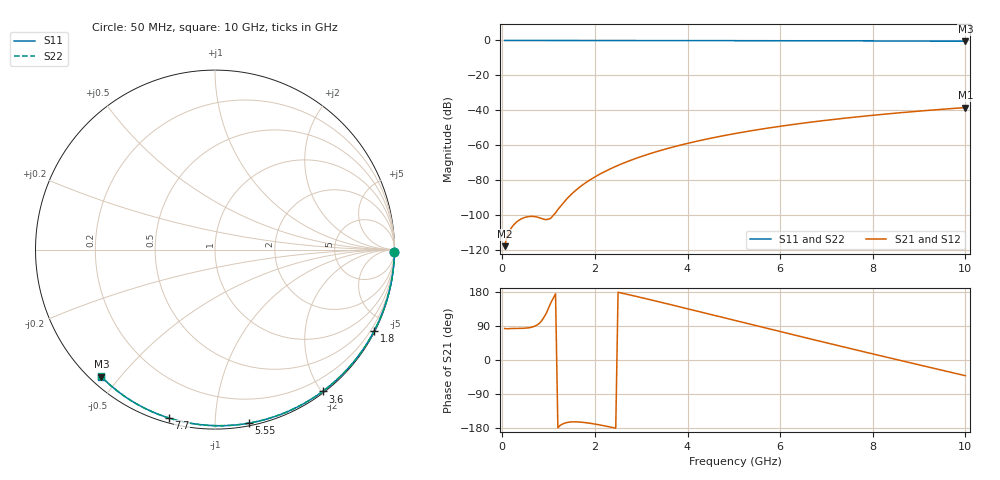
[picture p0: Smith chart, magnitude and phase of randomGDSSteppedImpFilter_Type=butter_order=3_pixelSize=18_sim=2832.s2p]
! freq	dB(S11)	phase(S11)	dB(S12)	phase(S12)
!  dB(S21)	phase(S21)	dB(S22)	phase(S22)
!S-par simulation data
#  GHz  S  DB  R 50
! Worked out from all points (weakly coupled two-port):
!   200 points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, 50 MHz to 10 GHz, reference 50 ohm
!   highest |S21| = -38.35 dB at 10 GHz (marker M1); lowest = -117.6 dB at 50 MHz (marker M2)
!   lowest |S11| = -0.4 dB at 10 GHz (marker M3), VSWR 39.14, Z = 1.53 - j22.3 ohm
!   |S11| at or under -10 dB: nowhere
!   |S22| runs from -0.4 to 0.0 dB; largest |S21 - S12| = 0
!   S11 on the Smith chart (normalised r, x): 50 MHz: open; 1.8 GHz: 0.04, -4.16; 3.6 GHz: 0.02, -2.01; 5.55 GHz: 0.02, -1.21; 7.7 GHz: 0.02, -0.76; 10 GHz: 0.03, -0.45
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0.05  -0.00 -0.8  -117.55 83.1  -117.55 83.1  -0.00 -0.8
0.9  -0.02 -13.6  -102.17 112.8  -102.17 112.8  -0.02 -13.6
1.75  -0.03 -26.3  -82.25 -164.6  -82.25 -164.6  -0.03 -26.3
1.8  -0.03 -27.0  -81.32 -165.3  -81.32 -165.3  -0.03 -27.0
1.85  -0.04 -27.8  -80.43 -166.1  -80.43 -166.1  -0.04 -27.8
1.9  -0.04 -28.5  -79.58 -167.0  -79.58 -167.0  -0.04 -28.5
2.05  -0.04 -30.7  -77.21 -170.1  -77.21 -170.1  -0.04 -30.7
2.25  -0.04 -33.6  -74.42 -174.8  -74.42 -174.8  -0.04 -33.6
2.45  -0.05 -36.5  -71.95 -179.9  -71.95 -179.9  -0.05 -36.5
2.65  -0.05 -39.4  -69.73 174.7  -69.73 174.7  -0.05 -39.4
3  -0.06 -44.4  -66.33 164.8  -66.33 164.8  -0.06 -44.4
3.4  -0.07 -50.0  -63.00 153.1  -63.00 153.1  -0.07 -50.1
3.6  -0.07 -52.8  -61.51 147.2  -61.51 147.2  -0.07 -52.9
4.3  -0.09 -62.4  -57.00 126.2  -57.00 126.2  -0.09 -62.5
5.05  -0.11 -72.4  -53.07 103.6  -53.07 103.6  -0.11 -72.5
5.55  -0.13 -78.9  -50.84 88.6  -50.84 88.6  -0.13 -79.0
6.1  -0.15 -85.9  -48.66 72.1  -48.66 72.1  -0.15 -85.9
6.7  -0.18 -93.3  -46.56 54.2  -46.56 54.2  -0.18 -93.4
7.7  -0.24 -105.4  -43.56 24.8  -43.56 24.8  -0.24 -105.4
8.35  -0.29 -113.0  -41.88 5.9  -41.88 5.9  -0.29 -113.1
9.15  -0.36 -122.2  -40.06 -17.1  -40.06 -17.1  -0.36 -122.3
10  -0.44 -131.8  -38.35 -41.4  -38.35 -41.4  -0.45 -131.9
